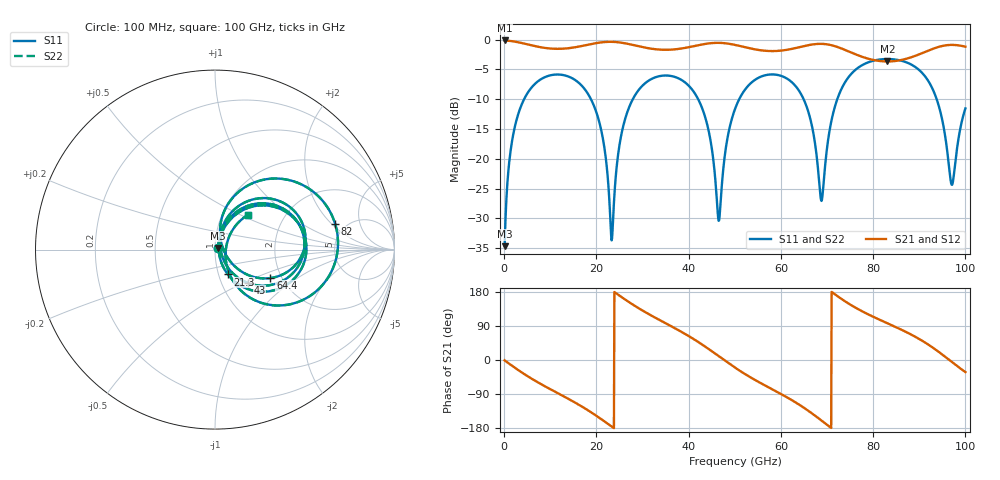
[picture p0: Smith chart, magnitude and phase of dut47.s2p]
! Touchstone file exported from HFSS 2026.1.0
!  File:  C:/ffzhzh/LocalFiles/Ansys_Project_Files/temp_train_TSV_RDL_47_1783444615_41684.aedt
!  Generated:  01:29:39 AM Jul  8, 2026
!  Design:  TSV_RDL
!  Project:  temp_train_TSV_RDL_47_1783444615_41684
! Variables:
!  h_bsmrdl = 2.74um
!  h_ox = 20um
!  h_rdl = 5um
!  h_sub = 51.64um
!  h_tmrdl = 2.81um
!  h_tsv = 51.64um
!  h_via = 3um
!  l_bsmrdl = 261.54um
!  l_sub = 2694.48um
!  l_tmrdl = 347.18um
!  m_sub = 200um
!  pitch = 41.18um
!  r_tsv = 5.76um
!  s_tmrdl = 10um
!  w_bsmrdl = 21.24um
!  w_sub = 500um
!  w_tmrdl = 19.14um
!  x_tsv_center1 = 356.75um
!  x_tsv_center2 = 639.53um
!  x_tsv_center3 = 1005.85um
!  x_tsv_center4 = 1288.63um
!  x_tsv_center5 = 1654.95um
!  x_tsv_center6 = 1937.73um
# GHz S MA R 50.000000
! Terminal data exported
! Port[1] = TM_RDL1_1_T1
! Port[2] = TM_RDL5_1_T1
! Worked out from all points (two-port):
!   1000 points, 100 MHz to 100 GHz, reference 50 ohm
!   highest |S21| = -0.14 dB at 100 MHz (marker M1); lowest = -3.7 dB at 83.1 GHz (marker M2)
!   |S21| within 3 dB of the highest: start of sweep to 78.64 GHz; 87.53 GHz to end of sweep
!   lowest |S11| = -34.7 dB at 100 MHz (marker M3), VSWR 1.04, Z = 51.6 + j0.913 ohm
!   |S11| at or under -10 dB: 18.82 GHz to 27.9 GHz (9.078 GHz wide, 38.9 % of centre); 42.06 GHz to 50.96 GHz (8.901 GHz wide, 19.1 % of centre); 64.93 GHz to 72.22 GHz (7.298 GHz wide, 10.6 % of centre) (the widest 3 of 5)
!   |S22| runs from -34.7 to -3.3 dB; largest |S21 - S12| = 1.1e-13
!   S11 on the Smith chart (normalised r, x): 100 MHz: 1.03, +0.02; 21.3 GHz: 1.11, -0.31; 43 GHz: 1.33, -0.53; 64.4 GHz: 1.75, -0.63; 82 GHz: 4.10, +2.21; 100 GHz: 1.32, +0.54
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0.1  0.01846 28.6  0.9839 -0.9  0.9839 -0.9  0.01846 28.6
! Gamma 0 0 0 0
! Port Impedance 50 0 50 0
1.7  0.1398 66.5  0.9699 -15.1  0.9699 -15.1  0.1397 66.5
4.6  0.3314 47.2  0.9211 -39.0  0.9211 -39.0  0.3314 47.2
16.8  0.4116 -32.6  0.8833 -122.4  0.8833 -122.4  0.4115 -32.5
21.3  0.1555 -62.7  0.9505 -158.2  0.9505 -158.2  0.1555 -62.5
23.4  0.02153 18.9  0.9581 -176.3  0.9581 -176.3  0.02192 18.9
26.5  0.2336 61.3  0.9268 157.3  0.9268 157.3  0.2337 61.2
33.4  0.4909 15.8  0.8262 107.4  0.8262 107.4  0.4909 15.8
43  0.2612 -45.4  0.9117 40.2  0.9117 40.2  0.2613 -45.3
46.5  0.03014 3.2  0.9397 10.2  0.9397 10.2  0.03081 3.4
50.1  0.2646 62.8  0.9023 -20.5  0.9023 -20.5  0.2647 62.6
57.9  0.5102 13.3  0.8013 -75.9  0.8013 -75.9  0.5103 13.2
64.4  0.3471 -27.2  0.8711 -121.2  0.8711 -121.2  0.3472 -27.2
66.7  0.191 -39.6  0.9089 -140.6  0.9089 -140.6  0.1911 -39.7
68.8  0.04424 19.4  0.9214 -159.7  0.9214 -159.7  0.04428 19.2
73  0.3759 65.3  0.8466 162.3  0.8466 162.3  0.3759 65.2
82  0.6847 12.1  0.658 102.9  0.658 102.9  0.6848 12.0
83.1  0.6875 6.5  0.6556 96.9  0.6556 96.9  0.6876 6.4
83.4  0.6873 5.0  0.6558 95.2  0.6558 95.2  0.6873 4.9
92.5  0.4132 -47.1  0.8242 36.3  0.8242 36.3  0.4133 -47.2
97  0.06068 -11.1  0.9032 -4.6  0.9032 -4.6  0.06025 -11.3
100  0.2644 46.6  0.8726 -32.0  0.8726 -32.0  0.2641 46.7
